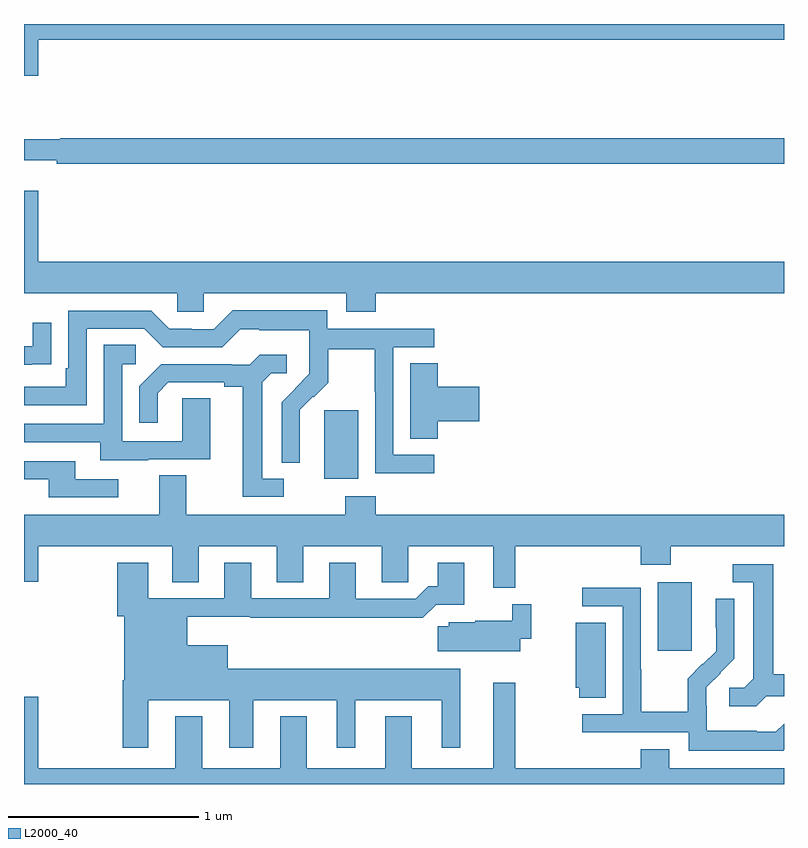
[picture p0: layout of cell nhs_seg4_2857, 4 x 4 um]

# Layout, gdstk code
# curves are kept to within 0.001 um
import gdstk
lib = gdstk.Library(unit=1e-6, precision=1e-09)
def R(c, l, rs):  # rectangles x0, y0, x1, y1
    for r in rs: c.add(gdstk.rectangle(r[:2], r[2:], *l))
def P(c, l, *ps):  # polygons
    for p in ps: c.add(gdstk.Polygon(p, *l))
L2000_40 = (2000, 40)

nhs_seg4_2857 = lib.new_cell('nhs_seg4_2857')
R(nhs_seg4_2857, L2000_40, [(264.335,797.601,264.514,797.962), (262.58,798.506,262.759,798.867)])
P(nhs_seg4_2857, L2000_40, [(261.076,800.816),(265,800.816),(265,800.9),(261,800.9),(261,800.628),(261.076,800.628)],
  [(265,800.3),(261.19,800.3),(261.19,800.293),(261,800.293),(261,800.183),(261.172,800.183),(261.172,800.164),(265,800.164)],
  [(262.85,799.484),(265,799.484),(265,799.648),(261.076,799.648),(261.076,800.023),(261,800.023),(261,799.484),(261.807,799.484),(261.807,799.386),(261.945,799.386),(261.945,799.484),(262.697,799.484),(262.697,799.385),(262.85,799.385)],
  [(263.158,798.633),(262.944,798.633),(262.944,799.2),(263.158,799.2),(263.158,799.296),(262.596,799.296),(262.596,799.393),(262.099,799.393),(261.999,799.293),(261.884,799.293),(261.884,799.296),(261.765,799.296),(261.669,799.392),(261.234,799.392),(261.234,799.087),(261.221,799.087),(261.221,798.99),(261,798.99),(261,798.894),(261.33,798.894),(261.33,799.296),(261.633,799.296),(261.729,799.2),(262.044,799.2),(262.137,799.293),(262.237,799.293),(262.237,799.289),(262.5,799.289),(262.5,799.155),(262.502,799.155),(262.502,799.058),(262.356,798.91),(262.356,798.592),(262.452,798.592),(262.451,798.869),(262.521,798.939),(262.524,798.936),(262.601,799.013),(262.601,799.188),(262.846,799.188),(262.846,798.964),(262.848,798.964),(262.848,798.535),(263.158,798.535)],
  [(261.041,799.108),(261.143,799.108),(261.143,799.327),(261.047,799.327),(261.047,799.203),(261,799.203),(261,799.107),(261.041,799.107)],
  [(261.655,798.609),(261.979,798.609),(261.979,798.929),(261.834,798.929),(261.834,798.705),(261.516,798.705),(261.516,799.11),(261.589,799.11),(261.589,799.211),(261.42,799.211),(261.42,798.795),(261,798.795),(261,798.699),(261.401,798.699),(261.401,798.605),(261.655,798.605)],
  [(262.366,798.507),(262.255,798.507),(262.255,799.015),(262.302,799.062),(262.384,799.062),(262.384,799.159),(262.24,799.159),(262.188,799.107),(262.094,799.107),(262.094,799.11),(261.722,799.11),(261.606,798.994),(261.606,798.801),(261.703,798.801),(261.703,798.957),(261.76,799.014),(262.055,799.014),(262.055,798.992),(262.151,798.992),(262.151,798.411),(262.366,798.411)],
  [(263.177,798.809),(263.395,798.809),(263.395,798.992),(263.177,798.992),(263.177,799.115),(263.033,799.115),(263.033,798.718),(263.177,798.718)],
  [(261.496,798.504),(261.271,798.504),(261.271,798.6),(261,798.6),(261,798.504),(261.131,798.504),(261.131,798.408),(261.496,798.408)],
  [(263.585,798.152),(264.245,798.152),(264.245,798.053),(264.405,798.053),(264.405,798.152),(265,798.152),(265,798.316),(262.85,798.316),(262.85,798.415),(262.69,798.415),(262.69,798.316),(261.853,798.316),(261.853,798.524),(261.713,798.524),(261.713,798.316),(261,798.316),(261,797.964),(261.076,797.964),(261.076,798.152),(261.779,798.152),(261.779,797.962),(261.919,797.962),(261.919,798.152),(262.331,798.152),(262.331,797.962),(262.471,797.962),(262.471,798.152),(262.883,798.152),(262.883,797.962),(263.022,797.962),(263.022,798.152),(263.471,798.152),(263.471,797.932),(263.585,797.932)],
  [(261.655,797.342),(262.079,797.342),(262.079,797.091),(262.207,797.091),(262.207,797.342),(262.646,797.342),(262.646,797.091),(262.744,797.091),(262.744,797.342),(263.198,797.342),(263.198,797.091),(263.296,797.091),(263.296,797.506),(262.072,797.506),(262.072,797.629),(261.859,797.629),(261.859,797.78),(262.191,797.78),(262.191,797.776),(262.843,797.776),(262.843,797.774),(263.099,797.774),(263.169,797.844),(263.317,797.844),(263.317,798.064),(263.177,798.064),(263.177,797.941),(263.128,797.941),(263.061,797.874),(262.747,797.874),(262.747,798.064),(262.607,798.064),(262.607,797.877),(262.195,797.877),(262.195,798.064),(262.055,798.064),(262.055,797.877),(261.655,797.877),(261.655,798.064),(261.491,798.064),(261.491,797.784),(261.527,797.784),(261.527,797.446),(261.52,797.446),(261.52,797.091),(261.655,797.091)],
  [(264.906,797.361),(265,797.361),(265,797.477),(264.943,797.477),(264.943,798.057),(264.729,798.057),(264.729,797.961),(264.839,797.961),(264.839,797.453),(264.792,797.406),(264.711,797.406),(264.711,797.309),(264.854,797.309)],
  [(265,797.08),(265,797.218),(264.957,797.175),(264.857,797.175),(264.857,797.179),(264.594,797.179),(264.594,797.313),(264.592,797.313),(264.592,797.41),(264.738,797.558),(264.738,797.876),(264.642,797.876),(264.642,797.722),(264.644,797.722),(264.644,797.6),(264.573,797.529),(264.57,797.532),(264.493,797.455),(264.493,797.281),(264.249,797.281),(264.249,797.504),(264.246,797.504),(264.246,797.934),(263.937,797.934),(263.937,797.835),(264.15,797.835),(264.15,797.268),(263.937,797.268),(263.937,797.172),(264.498,797.172),(264.498,797.075),(264.995,797.075)],
  [(263.611,797.664),(263.67,797.664),(263.67,797.847),(263.569,797.847),(263.569,797.76),(263.376,797.76),(263.376,797.752),(263.235,797.752),(263.235,797.729),(263.178,797.729),(263.178,797.6),(263.611,797.6)],
  [(264.061,797.75),(263.903,797.75),(263.903,797.406),(263.923,797.406),(263.923,797.353),(264.061,797.353)],
  [(264.245,797.083),(264.245,796.984),(263.585,796.984),(263.585,797.434),(263.471,797.434),(263.471,796.984),(263.041,796.984),(263.041,797.257),(262.901,797.257),(262.901,796.984),(262.489,796.984),(262.489,797.257),(262.349,797.257),(262.349,796.984),(261.937,796.984),(261.937,797.257),(261.797,797.257),(261.797,796.984),(261.076,796.984),(261.076,797.359),(261,797.359),(261,796.9),(265,796.9),(265,796.984),(264.397,796.984),(264.397,797.083)])

lib.write_gds('nhs_seg4_2857.gds')
